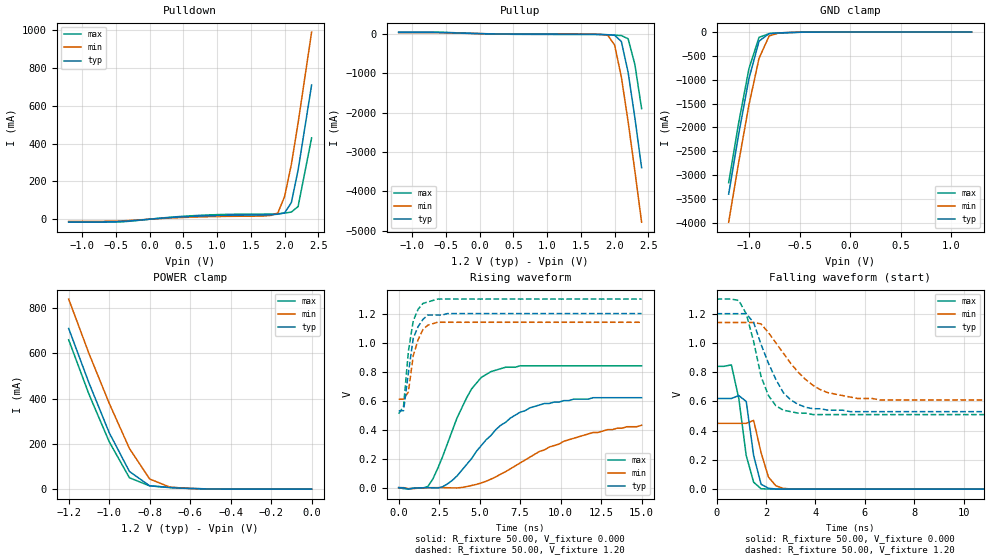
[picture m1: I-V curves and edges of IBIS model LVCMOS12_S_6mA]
| [Disclaimer] The data in these models is derived from HSPICE simulations
| using modeling information extracted from the target process.
| While a great deal of care has been taken to provide
| information that is accurate, this model is considered
| PRELIMINARY as it has not been verified by actual silicon
| measurement.
| [Copyright] Copyright 2004 Xilinx Inc., All rights reserved.
| From spartan3.ibs, Spartan-3, Xilinx, Inc.
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|   Model LVCMOS12_S_6mA
[Model]   LVCMOS12_S_6mA
Model_type   I/O
Polarity   Non-Inverting
Enable   Active-Low
Vinl =   0.26V
Vinh =   0.80V
Vmeas =   0.60V
Cref =  0.000F
Rref =   1.00M
Vref =  0.000V
C_comp   6.38pF   4.60pF   8.23pF
[Temperature Range]   25.00   85.00   0.000
[Voltage Range]   1.20V   1.14V   1.30V
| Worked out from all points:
|   slope of the pulldown table from 0 to 0.18 V, typ, clamps not added: 33.8 ohm
|   slope of the pullup table from 0 to 0.18 V, typ, clamps not added: 28.9 ohm
|   GND clamp passes 1 mA (typ) near -0.42 V on its own axis
|   POWER clamp passes 1 mA (typ) near -0.52 V on its own axis
|   rising waveform, R_fixture 50.00, V_fixture 0.000: 20-80 % time 3.21ns typ, 4.74ns min, 1.92ns max; typ from 0 V to 0.62 V
|   rising waveform, R_fixture 50.00, V_fixture 1.20: 20-80 % time 580ps typ, 593ps min, 503ps max; typ from 0.53 V to 1.2 V
|   falling waveform, R_fixture 50.00, V_fixture 0.000: 20-80 % time 378ps typ, 436ps min, 470ps max; typ from 0.62 V to 0 V
|   falling waveform, R_fixture 50.00, V_fixture 1.20: 20-80 % time 1.04ns typ, 1.6ns min, 744ps max; typ from 1.2 V to 0.53 V
[Pulldown]
| voltage   I(typ)   I(min)   I(max)
-1.2V     -14.26mA   -11.28mA   -15.8mA
-400mV    -11.53mA   -8.61mA    -13.54mA
700mV     16.12mA    11.68mA    19.69mA
1.7V      22.22mA    17.29mA    27.06mA
1.8V      23.52mA    20.16mA    27.38mA
1.9V      26.6mA     33.48mA    28.77mA
2V        33.37mA    120mA      32.17mA
2.1V      88.22mA    290mA      37.71mA
2.2V      260mA      510mA      67.15mA
2.4V      710mA      990mA      430mA
[Pullup]
| voltage   I(typ)   I(min)   I(max)
-1.2V     32.04mA    24.35mA    38.6mA
-700mV    32.04mA    24.35mA    38.6mA
400mV     -11.03mA   -8.04mA    -15.65mA
1.6V      -14.57mA   -11.26mA   -22.26mA
1.9V      -28.52mA   -43.82mA   -29.96mA
2V        -42.1mA    -290mA     -38.25mA
2.1V      -200mA     -1.1A      -49.57mA
2.2V      -980mA     -2.23A     -130mA
2.3V      -2.13A     -3.48A     -780mA
2.4V      -3.4A      -4.78A     -1.9A
[GND_clamp]
| voltage   I(typ)   I(min)   I(max)
-1.2V     -3.4A      -3.99A     -3.16A
-1.1V     -2.13A     -2.72A     -1.89A
-1V       -980mA     -1.53A     -770mA
-900mV    -190mA     -550mA     -110mA
-800mV    -30.8mA    -80.47mA   -32.49mA
-700mV    -16.75mA   -16.28mA   -20.54mA
-500mV    -3.25mA    -2.96mA    -4.27mA
1.2V      1.64nA     30.33nA    970pA
[POWER_clamp]
| voltage   I(typ)   I(min)   I(max)
-1.2V     710mA      840mA      660mA
-1.1V     470mA      600mA      420mA
-1V       250mA      380mA      210mA
-900mV    78.18mA    180mA      50.37mA
-800mV    14.95mA    45.05mA    14.47mA
-700mV    6.69mA     8.83mA     7.96mA
-600mV    2.8mA      2.96mA     3.48mA
0V        1.64nA     12.89nA    1.14nA
[Ramp]
| variable   typ   min   max
dV/dt_r   0.37/3.24n   0.26/4.59n   0.51/1.94n
dV/dt_f   0.40/1.06n   0.32/1.57n   0.47/0.79n
R_load = 50.00
[Rising Waveform]
R_fixture = 50.00
V_fixture = 0.000
| time   V(typ)   V(min)   V(max)
0s        0V         0V         0V
1.8ns     -74.33uV   -520uV     7.69mV
3ns       24.78mV    -690uV     300mV
4.2ns     160mV      7.62mV     620mV
5.1ns     290mV      32.24mV    760mV
5.7ns     360mV      58.52mV    800mV
6.9ns     480mV      130mV      830mV
9ns       580mV      260mV      840mV
12ns      620mV      380mV      840mV
15ns      620mV      430mV      840mV
[Rising Waveform]
R_fixture = 50.00
V_fixture = 1.20
V_fixture_min = 1.14
V_fixture_max = 1.30
| time   V(typ)   V(min)   V(max)
0s        530mV      610mV      510mV
300ps     530mV      610mV      560mV
600ps     790mV      660mV      940mV
900ps     1.03V      910mV      1.15V
1.2ns     1.11V      1.02V      1.23V
1.5ns     1.16V      1.09V      1.27V
1.8ns     1.19V      1.12V      1.28V
2.4ns     1.19V      1.14V      1.3V
3ns       1.2V       1.14V      1.3V
15ns      1.2V       1.14V      1.3V
[Falling Waveform]
R_fixture = 50.00
V_fixture = 0.000
| time   V(typ)   V(min)   V(max)
0s        620mV      450mV      840mV
600ps     620mV      450mV      850mV
900ps     640mV      450mV      620mV
1.2ns     600mV      450mV      230mV
1.5ns     230mV      470mV      47.58mV
1.8ns     33.56mV    250mV      2.87mV
2.1ns     6.11mV     82.36mV    880uV
2.4ns     1.03mV     23.13mV    630uV
2.7ns     750uV      5.38mV     450uV
15ns      0V         0V         0V
[Falling Waveform]
R_fixture = 50.00
V_fixture = 1.20
V_fixture_min = 1.14
V_fixture_max = 1.30
| time   V(typ)   V(min)   V(max)
0s        1.2V       1.14V      1.3V
900ps     1.2V       1.14V      1.29V
1.2ns     1.2V       1.14V      1.2V
1.5ns     1.14V      1.14V      1.01V
1.8ns     990mV      1.13V      770mV
2.1ns     860mV      1.07V      640mV
2.7ns     660mV      930mV      540mV
3.9ns     550mV      710mV      510mV
5.7ns     530mV      620mV      510mV
15ns      530mV      610mV      510mV
